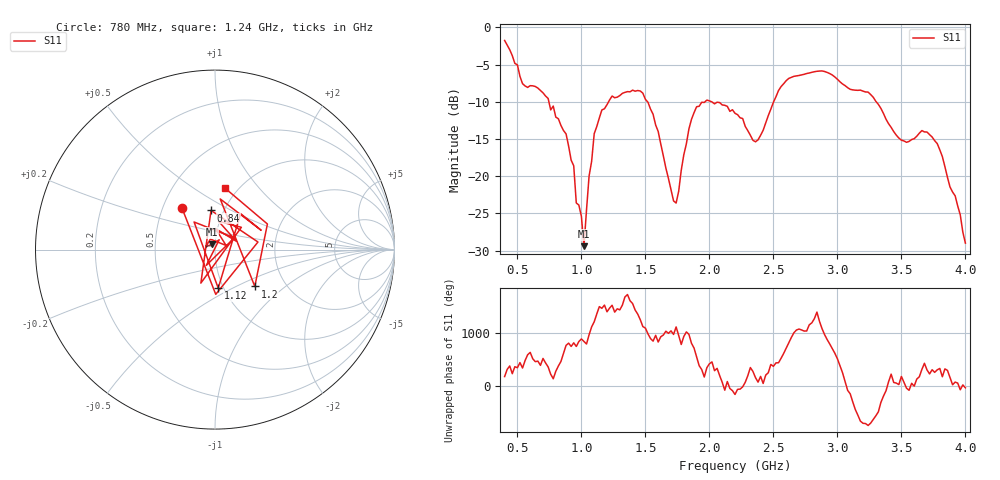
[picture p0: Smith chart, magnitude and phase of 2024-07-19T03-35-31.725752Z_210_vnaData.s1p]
!Created with skrf (http://scikit-rf.org).
# Hz S RI R 50.0
!freq ReS11 ImS11
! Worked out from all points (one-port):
!   181 points, 400 MHz to 4 GHz, reference 50 ohm
!   lowest |S11| = -29.4 dB at 1.02 GHz (marker M1), VSWR 1.07, Z = 48.5 + j2.96 ohm
!   |S11| at or under -10 dB: 745.8 MHz to 1.212 GHz (466.6 MHz wide, 47.7 % of centre); 2.017 GHz to 2.502 GHz (484.7 MHz wide, 21.5 % of centre); 3.303 GHz to end of sweep (the widest 3 of 4)
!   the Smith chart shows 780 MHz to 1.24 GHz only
!   S11 on the Smith chart (normalised r, x): 780 MHz: 0.63, +0.32; 840 MHz: 0.87, +0.40; 1.12 GHz: 0.94, -0.42; 1.2 GHz: 1.40, -0.63; 1.24 GHz: 0.88, +0.68
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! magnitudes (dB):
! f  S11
! 400 MHz  -1.8
! 540 MHz  -7.6
! 780 MHz  -10.6
! 840 MHz  -13.2
! 860 MHz  -13.9
! 940 MHz  -18.6
! 960 MHz  -23.6
! 1 GHz  -25.4
! 1.02 GHz  -29.4
! 1.06 GHz  -20.0
! 1.12 GHz  -13.3
! 1.2 GHz  -10.4
! 1.24 GHz  -9.2
! 1.3 GHz  -9.2
! 1.48 GHz  -8.8
! 1.6 GHz  -14.0
! 1.72 GHz  -23.3
! 1.76 GHz  -22.0
! 1.84 GHz  -13.6
! 1.9 GHz  -10.7
! 2.2 GHz  -11.6
! 2.36 GHz  -15.4
! 2.66 GHz  -6.6
! 3.1 GHz  -8.3
! 3.24 GHz  -8.7
! 3.56 GHz  -15.3
! 3.78 GHz  -15.6
! 4 GHz  -29.0
